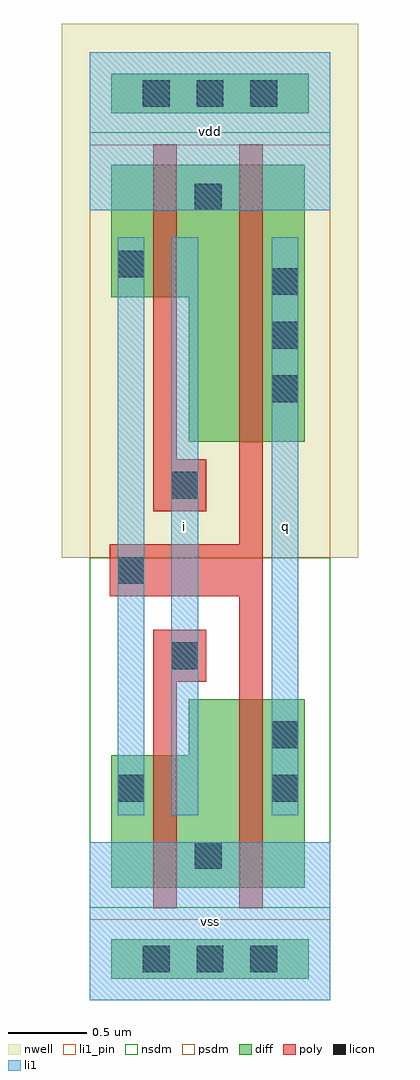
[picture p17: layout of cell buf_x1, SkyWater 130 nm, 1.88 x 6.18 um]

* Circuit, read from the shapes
.subckt buf_x1 i q vdd vss
XM1 vss i n1 VSUBS sky130_fd_pr__nfet_01v8 w=0.84 l=0.15
XM2 q n1 vss VSUBS sky130_fd_pr__nfet_01v8 w=1.195 l=0.15
XM3 vdd i n1 n2 sky130_fd_pr__pfet_01v8 w=0.84 l=0.15
XM4 q n1 vdd n2 sky130_fd_pr__pfet_01v8 w=1.755 l=0.15
.ends

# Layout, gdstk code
import gdstk
lib = gdstk.Library(unit=1e-6, precision=1e-09)
def R(c, l, rs):  # rectangles x0, y0, x1, y1
    for r in rs: c.add(gdstk.rectangle(r[:2], r[2:], *l))
def A(c, l, x, y, w, h, nx, ny, dx, dy):  # array of equal rectangles
    R(c, l, [(x+i*dx, y+j*dy, x+i*dx+w, y+j*dy+h) for i in range(nx) for j in range(ny)])
def P(c, l, *ps):  # polygons
    for p in ps: c.add(gdstk.Polygon(p, *l))
nwell = (64, 20)
diff = (65, 20)
poly = (66, 20)
licon = (66, 44)
li1_pin = (67, 16)
li1 = (67, 20)
nsdm = (93, 44)
psdm = (94, 20)

buf_x1 = lib.new_cell('buf_x1')
R(buf_x1, nwell, [(-0.18,2.8,1.7,6.18)])
R(buf_x1, diff, [(0.135,0.135,1.385,0.385), (0.135,5.615,1.385,5.865)])
P(buf_x1, diff, [(0.625,3.535),(0.625,4.45),(0.135,4.45),(0.135,5.29),(1.36,5.29),(1.36,3.535)],
  [(0.135,0.71),(0.135,1.55),(0.625,1.55),(0.625,1.905),(1.36,1.905),(1.36,0.71)])
P(buf_x1, poly, [(0.945,0.58),(0.945,2.555),(0.125,2.555),(0.125,2.885),(0.945,2.885),(0.945,5.42),(1.095,5.42),(1.095,0.58)],
  [(0.4,0.58),(0.4,2.345),(0.735,2.345),(0.735,2.015),(0.55,2.015),(0.55,0.58)],
  [(0.4,3.095),(0.4,5.42),(0.55,5.42),(0.55,3.425),(0.735,3.425),(0.735,3.095)])
A(buf_x1, licon, 0.335, 0.175, 0.17, 0.17, 3, 2, 0.34, 5.48)
A(buf_x1, licon, 1.15, 3.785, 0.17, 0.17, 1, 3, 0, 0.34)
R(buf_x1, licon, [(0.665,0.83,0.835,1), (0.175,1.255,0.345,1.425), (1.15,1.255,1.32,1.425), (1.15,1.595,1.32,1.765), (0.515,2.095,0.685,2.265), (0.175,2.635,0.345,2.805), (0.515,3.175,0.685,3.345), (0.175,4.575,0.345,4.745), (0.665,5,0.835,5.17)])
R(buf_x1, li1_pin, [(0,0,1.52,1), (0.515,1.17,0.685,4.83), (1.15,1.17,1.32,4.83), (0,5,1.52,6)])
R(buf_x1, li1, [(0,0,1.52,1), (0.175,1.17,0.345,4.83), (0.515,1.17,0.685,4.83), (1.15,1.17,1.32,4.83), (0,5,1.52,6)])
R(buf_x1, nsdm, [(0,0.585,1.52,2.8), (0,5.49,1.52,6)])
R(buf_x1, psdm, [(0,0,1.52,0.51), (0,2.8,1.52,5.415)])
buf_x1.add(gdstk.Label('vdd', (0.76,5.5), layer=67, texttype=16))
buf_x1.add(gdstk.Label('vss', (0.76,0.5), layer=67, texttype=16))
buf_x1.add(gdstk.Label('i', (0.6,3), layer=67, texttype=16))
buf_x1.add(gdstk.Label('q', (1.235,3), layer=67, texttype=16))

lib.write_gds('buf_x1.gds')
